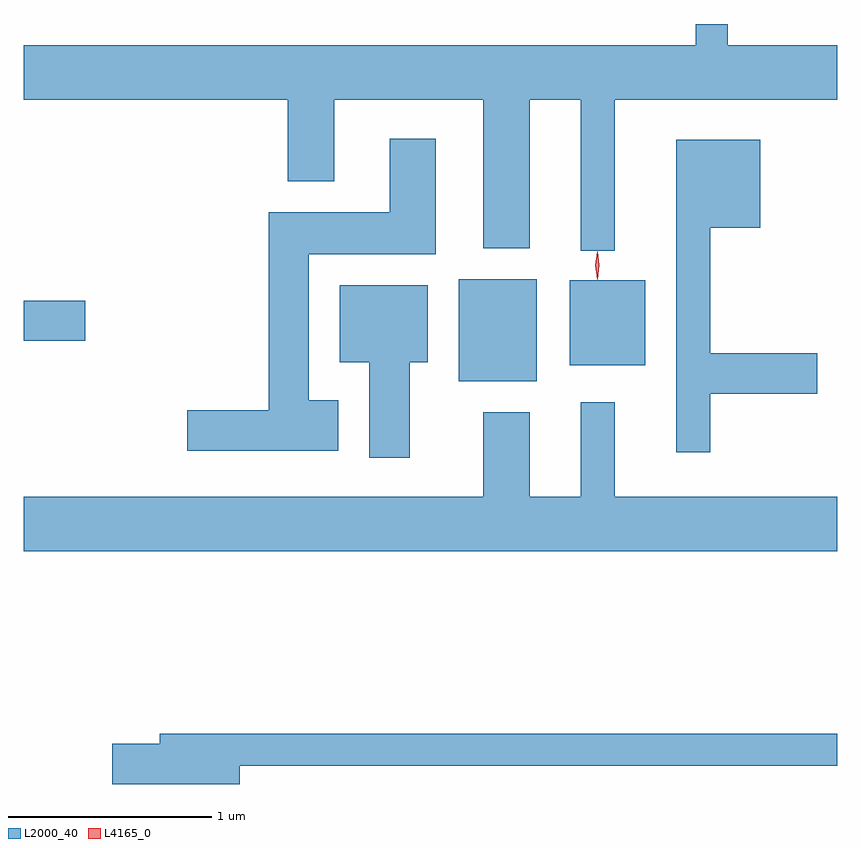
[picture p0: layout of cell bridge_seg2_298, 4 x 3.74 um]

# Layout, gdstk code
import gdstk
lib = gdstk.Library(unit=1e-6, precision=1e-09)
def R(c, l, rs):  # rectangles x0, y0, x1, y1
    for r in rs: c.add(gdstk.rectangle(r[:2], r[2:], *l))
def P(c, l, *ps):  # polygons
    for p in ps: c.add(gdstk.Polygon(p, *l))
L2000_40 = (2000, 40)
L4165_0 = (4165, 0)

bridge_seg2_298 = lib.new_cell('bridge_seg2_298')
R(bridge_seg2_298, L2000_40, [(441.191,1060.251,441.574,1060.754), (441.736,1060.331,442.109,1060.749), (439.052,1060.451,439.354,1060.649)])
P(bridge_seg2_298, L2000_40, [(441.959,1061.636),(443.052,1061.636),(443.052,1061.904),(442.514,1061.904),(442.514,1062.009),(442.356,1062.009),(442.356,1061.904),(439.052,1061.904),(439.052,1061.636),(440.351,1061.636),(440.351,1061.236),(440.579,1061.236),(440.579,1061.636),(441.311,1061.636),(441.311,1060.906),(441.539,1060.906),(441.539,1061.636),(441.791,1061.636),(441.791,1060.893),(441.959,1060.893)],
  [(440.599,1060.159),(440.454,1060.159),(440.454,1060.876),(441.079,1060.876),(441.079,1061.444),(440.851,1061.444),(440.851,1061.084),(440.256,1061.084),(440.256,1060.109),(439.856,1060.109),(439.856,1059.911),(440.599,1059.911)],
  [(442.429,1060.191),(442.954,1060.191),(442.954,1060.389),(442.429,1060.389),(442.429,1061.006),(442.674,1061.006),(442.674,1061.439),(442.261,1061.439),(442.261,1059.903),(442.429,1059.903)],
  [(440.949,1060.346),(441.039,1060.346),(441.039,1060.724),(440.606,1060.724),(440.606,1060.346),(440.751,1060.346),(440.751,1059.876),(440.949,1059.876)],
  [(443.052,1059.684),(441.959,1059.684),(441.959,1060.148),(441.791,1060.148),(441.791,1059.684),(441.539,1059.684),(441.539,1060.099),(441.311,1060.099),(441.311,1059.684),(439.052,1059.684),(439.052,1059.416),(443.052,1059.416)],
  [(440.114,1058.361),(443.052,1058.361),(443.052,1058.519),(439.721,1058.519),(439.721,1058.469),(439.486,1058.469),(439.486,1058.271),(440.114,1058.271)])
P(bridge_seg2_298, L4165_0, [(441.872,1060.754),(441.863,1060.822),(441.872,1060.89),(441.873,1060.89),(441.874,1060.89),(441.883,1060.822),(441.874,1060.754),(441.873,1060.754)],
  [(441.872,1060.758),(441.863,1060.822),(441.872,1060.886),(441.873,1060.887),(441.874,1060.886),(441.883,1060.822),(441.874,1060.758),(441.873,1060.758)])

lib.write_gds('bridge_seg2_298.gds')
